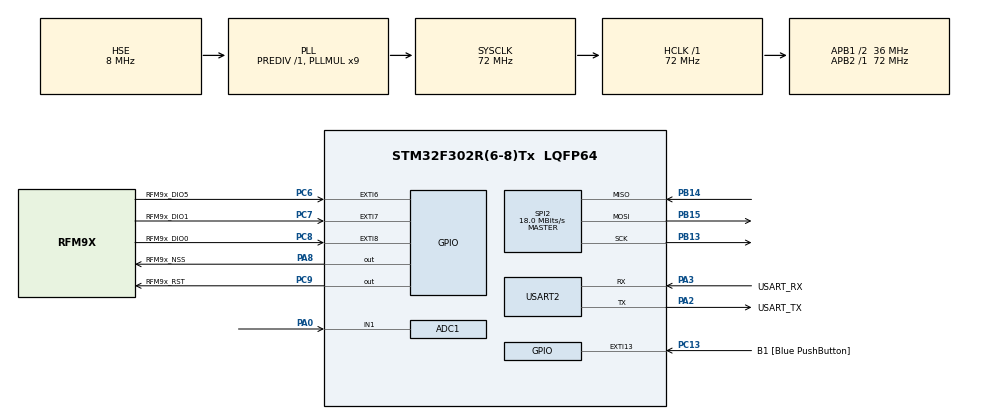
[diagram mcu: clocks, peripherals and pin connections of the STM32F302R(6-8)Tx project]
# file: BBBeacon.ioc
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ADC1.Channel-0\#ChannelRegularConversion=ADC_CHANNEL_1
ADC1.NbrOfConversionFlag=1
ADC1.Offset-0\#ChannelRegularConversion=0
ADC1.OffsetNumber-0\#ChannelRegularConversion=ADC_OFFSET_NONE
ADC1.Rank-0\#ChannelRegularConversion=1
ADC1.Resolution=ADC_RESOLUTION_8B
ADC1.SamplingTime-0\#ChannelRegularConversion=ADC_SAMPLETIME_1CYCLE_5
ADC1.SamplingTimeOPAMP-0\#ChannelRegularConversion=ADC_SAMPLETIME_61CYCLES_5
ADC1.SubFamily=STM32F302x8
ADC1.master=1
Mcu.Family=STM32F3
Mcu.Name=STM32F302R(6-8)Tx
Mcu.Package=LQFP64
NVIC.EXTI9_5_IRQn=true\:0\:0\:false\:false\:true\:true\:true\:true
NVIC.PriorityGroup=NVIC_PRIORITYGROUP_0
NVIC.TIM1_BRK_TIM15_IRQn=true\:0\:0\:false\:false\:true\:true\:true\:true
NVIC.TIM1_CC_IRQn=true\:0\:0\:false\:false\:true\:true\:true\:true
NVIC.TIM1_TRG_COM_TIM17_IRQn=true\:0\:0\:false\:false\:true\:true\:true\:true
NVIC.TIM1_UP_TIM16_IRQn=true\:0\:0\:false\:false\:true\:true\:true\:true
PA0.Mode=IN1-Single-Ended
PA0.Signal=ADC1_IN1
PA13.GPIO_Label=TMS
PA13.Mode=Trace_Asynchronous_SW
PA13.Signal=SYS_JTMS-SWDIO
PA14.GPIO_Label=TCK
PA14.Mode=Trace_Asynchronous_SW
PA14.Signal=SYS_JTCK-SWCLK
PA2.GPIO_Label=USART_TX
PA2.GPIO_Mode=GPIO_MODE_AF_PP
PA2.GPIO_PuPd=GPIO_NOPULL
PA2.GPIO_Speed=GPIO_SPEED_FREQ_LOW
PA2.Mode=Asynchronous
PA2.Signal=USART2_TX
PA3.GPIO_Label=USART_RX
PA3.GPIO_Mode=GPIO_MODE_AF_PP
PA3.GPIO_PuPd=GPIO_NOPULL
PA3.GPIO_Speed=GPIO_SPEED_FREQ_LOW
PA3.Mode=Asynchronous
PA3.Signal=USART2_RX
PA8.GPIO_Label=RFM9x_NSS
PA8.Signal=GPIO_Output
PB13.Mode=Full_Duplex_Master
PB13.Signal=SPI2_SCK
PB14.Mode=Full_Duplex_Master
PB14.Signal=SPI2_MISO
PB15.Mode=Full_Duplex_Master
PB15.Signal=SPI2_MOSI
PB3.GPIO_Label=SWO
PB3.Mode=Trace_Asynchronous_SW
PB3.Signal=SYS_JTDO-TRACESWO
PC13.GPIO_Label=B1 [Blue PushButton]
PC13.GPIO_ModeDefaultEXTI=GPIO_MODE_IT_FALLING
PC13.Signal=GPXTI13
PC14\ -\ OSC32_IN.Mode=LSE-External-Oscillator
PC14\ -\ OSC32_IN.Signal=RCC_OSC32_IN
PC15\ -\ OSC32_OUT.Mode=LSE-External-Oscillator
PC15\ -\ OSC32_OUT.Signal=RCC_OSC32_OUT
PC6.GPIO_Label=RFM9x_DIO5
PC6.GPIO_ModeDefaultEXTI=GPIO_MODE_IT_RISING_FALLING
PC6.GPIO_PuPd=GPIO_PULLUP
PC6.Signal=GPXTI6
PC7.GPIO_Label=RFM9x_DIO1
PC7.GPIO_ModeDefaultEXTI=GPIO_MODE_IT_RISING_FALLING
PC7.GPIO_PuPd=GPIO_PULLUP
PC7.Signal=GPXTI7
PC8.GPIO_Label=RFM9x_DIO0
PC8.GPIO_ModeDefaultEXTI=GPIO_MODE_IT_RISING_FALLING
PC8.GPIO_PuPd=GPIO_PULLUP
PC8.Signal=GPXTI8
PC9.GPIO_Label=RFM9x_RST
PC9.Signal=GPIO_Output
PF0-OSC_IN.Mode=HSE-External-Clock-Source
PF0-OSC_IN.Signal=RCC_OSC_IN
PF1-OSC_OUT.Signal=RCC_OSC_OUT
ProjectManager.HeapSize=0x200
ProjectManager.StackSize=0x400
ProjectManager.TargetToolchain=STM32CubeIDE
RCC.AHBFreq_Value=72000000
RCC.APB1CLKDivider=RCC_HCLK_DIV2
RCC.APB1Freq_Value=36000000
RCC.APB1TimFreq_Value=72000000
RCC.APB2Freq_Value=72000000
RCC.APB2TimFreq_Value=72000000
RCC.CortexFreq_Value=72000000
RCC.HCLKFreq_Value=72000000
RCC.HSE_VALUE=8000000
RCC.HSI_VALUE=8000000
RCC.PLLM=8
RCC.PLLMUL=RCC_PLL_MUL9
RCC.PLLN=336
RCC.PLLP=RCC_PLLP_DIV4
RCC.PLLQ=7
RCC.PLLSourceVirtual=RCC_PLLSOURCE_HSE
RCC.SYSCLKFreq_VALUE=72000000
RCC.SYSCLKSourceVirtual=RCC_SYSCLKSOURCE_PLLCLK
RCC.USBFreq_Value=72000000
SPI2.CLKPhase=SPI_PHASE_1EDGE
SPI2.CLKPolarity=SPI_POLARITY_LOW
SPI2.CalculateBaudRate=18.0 MBits/s
SPI2.DataSize=SPI_DATASIZE_8BIT
SPI2.Direction=SPI_DIRECTION_2LINES
SPI2.Mode=SPI_MODE_MASTER
SPI2.VirtualType=VM_MASTER
TIM1.Prescaler=2048
USART2.VirtualMode-Asynchronous=VM_ASYNC
VP_TIM1_VS_ClockSourceINT.Mode=Internal
board=NUCLEO-F302R8

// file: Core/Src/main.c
/* USER CODE BEGIN Header */
/**
  ******************************************************************************
  * @file           : main.c
  * @brief          : Main program body
  ******************************************************************************
  * @attention
  *
  * Copyright (c) 2023 STMicroelectronics.
  * All rights reserved.
  *
  * This software is licensed under terms that can be found in the LICENSE file
  * in the root directory of this software component.
  * If no LICENSE file comes with this software, it is provided AS-IS.
  *
  ******************************************************************************
  */
/* USER CODE END Header */
#include "main.h"

/* USER CODE BEGIN Includes */
#include "rfm95.h"

#include <stdio.h>
#include <stdlib.h>

/* USER CODE END Includes */

ADC_HandleTypeDef hadc1;

SPI_HandleTypeDef hspi2;

TIM_HandleTypeDef htim1;

UART_HandleTypeDef huart2;

/* USER CODE BEGIN PV */

volatile uint32_t tim_tick_msb = 0;

/* USER CODE END PV */

void SystemClock_Config(void);
static void MX_GPIO_Init(void);
static void MX_USART2_UART_Init(void);
static void MX_ADC1_Init(void);
static void MX_SPI2_Init(void);
static void MX_TIM1_Init(void);

/* USER CODE BEGIN 0 */

int _write(int file, char *ptr, int len)
{
	for (int i = 0; i < len; i++)
	{
	  ITM_SendChar(*ptr++);
	}
	return len;
}

static uint32_t get_precision_tick()
{
    __disable_irq();
    HAL_TIM_Base_Start(&htim1);
    uint32_t precision_tick = tim_tick_msb | __HAL_TIM_GET_COUNTER(&htim1);
    HAL_TIM_Base_Stop(&htim1);
    __enable_irq();

    return precision_tick;
}

static uint8_t random_int(uint8_t max)
{
    return 0; // TODO: MAKE IT RANDOM
}

rfm95_handle_t rfm95_handle = {
        .spi_handle = &hspi2,
  		.nss_port = GPIOA,
  		.nss_pin = RFM9x_NSS_Pin,
  		.nrst_port = GPIOC,
  		.nrst_pin = RFM9x_RST_Pin,
  		.device_address = {
              0x00, 0x00, 0x00, 0x00
          },
  		.application_session_key = {
              0x00, 0x00, 0x00, 0x00, 0x00, 0x00, 0x00, 0x00, 0x00, 0x00, 0x00, 0x00, 0x00, 0x00, 0x00, 0x00
          },
  		.network_session_key = {
              0x00, 0x00, 0x00, 0x00, 0x00, 0x00, 0x00, 0x00, 0x00, 0x00, 0x00, 0x00, 0x00, 0x00, 0x00, 0x00
          },
  		.receive_mode = RFM95_RECEIVE_MODE_NONE,
		.precision_tick_frequency = 32768,
		.precision_tick_drift_ns_per_s = 5000,
		.receive_mode = RFM95_RECEIVE_MODE_RX12,
		.get_precision_tick = get_precision_tick,
		.random_int = random_int
      };

/* USER CODE END 0 */

int main(void)
{

  /* MCU Configuration--------------------------------------------------------*/

  /* Reset of all peripherals, Initializes the Flash interface and the Systick. */
  HAL_Init();

  /* Configure the system clock */
  SystemClock_Config();

  /* USER CODE BEGIN SysInit */

  printf("\n");
  printf("START\n");

  /* USER CODE END SysInit */

  /* Initialize all configured peripherals */
  MX_GPIO_Init();
  MX_USART2_UART_Init();
  MX_ADC1_Init();
  MX_SPI2_Init();
  MX_TIM1_Init();
  /* USER CODE BEGIN 2 */

  if (!rfm95_init(&rfm95_handle)) {
	  printf("LoRa RFM9x: Init FAIL\n");
  } else {
	  printf("LoRa RFM9x: LoRa SUCCESS\n");
  }

  /* USER CODE END 2 */

  /* Infinite loop */
  /* USER CODE BEGIN WHILE */

  while (1)
  {
	  uint8_t data_packet[] = {0x01, 0x02, 0x03, 0x4};
	  if (!rfm95_send_receive_cycle(&rfm95_handle, data_packet, sizeof(data_packet))) {
		  printf("LoRa RFM9x: Send FAIL\n");
	  } else {
		  printf("LoRa RFM9x: Send SUCCESS\n");
	  }

	  //Example ADC
	  HAL_ADC_Start(&hadc1);
	  uint8_t val_a;
	  if (HAL_ADC_PollForConversion(&hadc1, 10) == HAL_OK) {
		  val_a = HAL_ADC_GetValue(&hadc1);
	  }
	  HAL_ADC_Stop(&hadc1);
	  printf("%d", val_a);

	  //Example GPIO
	  HAL_GPIO_WritePin(GPIOA, GPIO_PIN_10, GPIO_PIN_SET);
	  HAL_Delay(2000);
	  HAL_GPIO_WritePin(GPIOA, GPIO_PIN_10, GPIO_PIN_RESET);
	  HAL_Delay(2000);
    /* USER CODE END WHILE */

  }
}

void SystemClock_Config(void)
{
  RCC_OscInitTypeDef RCC_OscInitStruct = {0};
  RCC_ClkInitTypeDef RCC_ClkInitStruct = {0};
  RCC_PeriphCLKInitTypeDef PeriphClkInit = {0};

  /** Initializes the RCC Oscillators according to the specified parameters
  * in the RCC_OscInitTypeDef structure.
  */
  RCC_OscInitStruct.OscillatorType = RCC_OSCILLATORTYPE_HSE;
  RCC_OscInitStruct.HSEState = RCC_HSE_BYPASS;
  RCC_OscInitStruct.HSEPredivValue = RCC_HSE_PREDIV_DIV1;
  RCC_OscInitStruct.HSIState = RCC_HSI_ON;
  RCC_OscInitStruct.PLL.PLLState = RCC_PLL_ON;
  RCC_OscInitStruct.PLL.PLLSource = RCC_PLLSOURCE_HSE;
  RCC_OscInitStruct.PLL.PLLMUL = RCC_PLL_MUL9;
  if (HAL_RCC_OscConfig(&RCC_OscInitStruct) != HAL_OK)
  {
    Error_Handler();
  }

  /** Initializes the CPU, AHB and APB buses clocks
  */
  RCC_ClkInitStruct.ClockType = RCC_CLOCKTYPE_HCLK|RCC_CLOCKTYPE_SYSCLK
                              |RCC_CLOCKTYPE_PCLK1|RCC_CLOCKTYPE_PCLK2;
  RCC_ClkInitStruct.SYSCLKSource = RCC_SYSCLKSOURCE_PLLCLK;
  RCC_ClkInitStruct.AHBCLKDivider = RCC_SYSCLK_DIV1;
  RCC_ClkInitStruct.APB1CLKDivider = RCC_HCLK_DIV2;
  RCC_ClkInitStruct.APB2CLKDivider = RCC_HCLK_DIV1;

  if (HAL_RCC_ClockConfig(&RCC_ClkInitStruct, FLASH_LATENCY_2) != HAL_OK)
  {
    Error_Handler();
  }
  PeriphClkInit.PeriphClockSelection = RCC_PERIPHCLK_TIM1|RCC_PERIPHCLK_ADC1;
  PeriphClkInit.Tim1ClockSelection = RCC_TIM1CLK_HCLK;
  PeriphClkInit.Adc1ClockSelection = RCC_ADC1PLLCLK_DIV1;

  if (HAL_RCCEx_PeriphCLKConfig(&PeriphClkInit) != HAL_OK)
  {
    Error_Handler();
  }
}

static void MX_ADC1_Init(void)
{

  ADC_ChannelConfTypeDef sConfig = {0};

  /** Common config
  */
  hadc1.Instance = ADC1;
  hadc1.Init.ClockPrescaler = ADC_CLOCK_ASYNC_DIV1;
  hadc1.Init.Resolution = ADC_RESOLUTION_8B;
  hadc1.Init.ScanConvMode = ADC_SCAN_DISABLE;
  hadc1.Init.ContinuousConvMode = DISABLE;
  hadc1.Init.DiscontinuousConvMode = DISABLE;
  hadc1.Init.ExternalTrigConvEdge = ADC_EXTERNALTRIGCONVEDGE_NONE;
  hadc1.Init.ExternalTrigConv = ADC_SOFTWARE_START;
  hadc1.Init.DataAlign = ADC_DATAALIGN_RIGHT;
  hadc1.Init.NbrOfConversion = 1;
  hadc1.Init.DMAContinuousRequests = DISABLE;
  hadc1.Init.EOCSelection = ADC_EOC_SINGLE_CONV;
  hadc1.Init.LowPowerAutoWait = DISABLE;
  hadc1.Init.Overrun = ADC_OVR_DATA_OVERWRITTEN;
  if (HAL_ADC_Init(&hadc1) != HAL_OK)
  {
    Error_Handler();
  }

  /** Configure Regular Channel
  */
  sConfig.Channel = ADC_CHANNEL_1;
  sConfig.Rank = ADC_REGULAR_RANK_1;
  sConfig.SingleDiff = ADC_SINGLE_ENDED;
  sConfig.SamplingTime = ADC_SAMPLETIME_1CYCLE_5;
  sConfig.OffsetNumber = ADC_OFFSET_NONE;
  sConfig.Offset = 0;
  if (HAL_ADC_ConfigChannel(&hadc1, &sConfig) != HAL_OK)
  {
    Error_Handler();
  }

}

static void MX_SPI2_Init(void)
{

  /* SPI2 parameter configuration*/
  hspi2.Instance = SPI2;
  hspi2.Init.Mode = SPI_MODE_MASTER;
  hspi2.Init.Direction = SPI_DIRECTION_2LINES;
  hspi2.Init.DataSize = SPI_DATASIZE_8BIT;
  hspi2.Init.CLKPolarity = SPI_POLARITY_LOW;
  hspi2.Init.CLKPhase = SPI_PHASE_1EDGE;
  hspi2.Init.NSS = SPI_NSS_SOFT;
  hspi2.Init.BaudRatePrescaler = SPI_BAUDRATEPRESCALER_2;
  hspi2.Init.FirstBit = SPI_FIRSTBIT_MSB;
  hspi2.Init.TIMode = SPI_TIMODE_DISABLE;
  hspi2.Init.CRCCalculation = SPI_CRCCALCULATION_DISABLE;
  hspi2.Init.CRCPolynomial = 7;
  hspi2.Init.CRCLength = SPI_CRC_LENGTH_DATASIZE;
  hspi2.Init.NSSPMode = SPI_NSS_PULSE_ENABLE;
  if (HAL_SPI_Init(&hspi2) != HAL_OK)
  {
    Error_Handler();
  }

}

static void MX_TIM1_Init(void)
{

  TIM_ClockConfigTypeDef sClockSourceConfig = {0};
  TIM_MasterConfigTypeDef sMasterConfig = {0};

  htim1.Instance = TIM1;
  htim1.Init.Prescaler = 2048;
  htim1.Init.CounterMode = TIM_COUNTERMODE_UP;
  htim1.Init.Period = 65535;
  htim1.Init.ClockDivision = TIM_CLOCKDIVISION_DIV1;
  htim1.Init.RepetitionCounter = 0;
  htim1.Init.AutoReloadPreload = TIM_AUTORELOAD_PRELOAD_DISABLE;
  if (HAL_TIM_Base_Init(&htim1) != HAL_OK)
  {
    Error_Handler();
  }
  sClockSourceConfig.ClockSource = TIM_CLOCKSOURCE_INTERNAL;
  if (HAL_TIM_ConfigClockSource(&htim1, &sClockSourceConfig) != HAL_OK)
  {
    Error_Handler();
  }
  sMasterConfig.MasterOutputTrigger = TIM_TRGO_RESET;
  sMasterConfig.MasterOutputTrigger2 = TIM_TRGO2_RESET;
  sMasterConfig.MasterSlaveMode = TIM_MASTERSLAVEMODE_DISABLE;
  if (HAL_TIMEx_MasterConfigSynchronization(&htim1, &sMasterConfig) != HAL_OK)
  {
    Error_Handler();
  }

}

static void MX_USART2_UART_Init(void)
{

  huart2.Instance = USART2;
  huart2.Init.BaudRate = 38400;
  huart2.Init.WordLength = UART_WORDLENGTH_8B;
  huart2.Init.StopBits = UART_STOPBITS_1;
  huart2.Init.Parity = UART_PARITY_NONE;
  huart2.Init.Mode = UART_MODE_TX_RX;
  huart2.Init.HwFlowCtl = UART_HWCONTROL_NONE;
  huart2.Init.OverSampling = UART_OVERSAMPLING_16;
  huart2.Init.OneBitSampling = UART_ONE_BIT_SAMPLE_DISABLE;
  huart2.AdvancedInit.AdvFeatureInit = UART_ADVFEATURE_NO_INIT;
  if (HAL_UART_Init(&huart2) != HAL_OK)
  {
    Error_Handler();
  }

}

static void MX_GPIO_Init(void)
{
  GPIO_InitTypeDef GPIO_InitStruct = {0};

  /* GPIO Ports Clock Enable */
  __HAL_RCC_GPIOC_CLK_ENABLE();
  __HAL_RCC_GPIOF_CLK_ENABLE();
  __HAL_RCC_GPIOA_CLK_ENABLE();
  __HAL_RCC_GPIOB_CLK_ENABLE();

  /*Configure GPIO pin Output Level */
  HAL_GPIO_WritePin(RFM9x_RST_GPIO_Port, RFM9x_RST_Pin, GPIO_PIN_RESET);

  /*Configure GPIO pin Output Level */
  HAL_GPIO_WritePin(RFM9x_NSS_GPIO_Port, RFM9x_NSS_Pin, GPIO_PIN_RESET);

  /*Configure GPIO pin : B1_Pin */
  GPIO_InitStruct.Pin = B1_Pin;
  GPIO_InitStruct.Mode = GPIO_MODE_IT_FALLING;
  GPIO_InitStruct.Pull = GPIO_NOPULL;
  HAL_GPIO_Init(B1_GPIO_Port, &GPIO_InitStruct);

  /*Configure GPIO pins : RFM9x_DIO5_Pin RFM9x_DIO1_Pin RFM9x_DIO0_Pin */
  GPIO_InitStruct.Pin = RFM9x_DIO5_Pin|RFM9x_DIO1_Pin|RFM9x_DIO0_Pin;
  GPIO_InitStruct.Mode = GPIO_MODE_IT_RISING_FALLING;
  GPIO_InitStruct.Pull = GPIO_PULLUP;
  HAL_GPIO_Init(GPIOC, &GPIO_InitStruct);

  /*Configure GPIO pin : RFM9x_RST_Pin */
  GPIO_InitStruct.Pin = RFM9x_RST_Pin;
  GPIO_InitStruct.Mode = GPIO_MODE_OUTPUT_PP;
  GPIO_InitStruct.Pull = GPIO_NOPULL;
  GPIO_InitStruct.Speed = GPIO_SPEED_FREQ_LOW;
  HAL_GPIO_Init(RFM9x_RST_GPIO_Port, &GPIO_InitStruct);

  /*Configure GPIO pin : RFM9x_NSS_Pin */
  GPIO_InitStruct.Pin = RFM9x_NSS_Pin;
  GPIO_InitStruct.Mode = GPIO_MODE_OUTPUT_PP;
  GPIO_InitStruct.Pull = GPIO_NOPULL;
  GPIO_InitStruct.Speed = GPIO_SPEED_FREQ_LOW;
  HAL_GPIO_Init(RFM9x_NSS_GPIO_Port, &GPIO_InitStruct);

  /* EXTI interrupt init*/
  HAL_NVIC_SetPriority(EXTI9_5_IRQn, 0, 0);
  HAL_NVIC_EnableIRQ(EXTI9_5_IRQn);

}

/* USER CODE BEGIN 4 */

void HAL_GPIO_EXTI_Callback(uint16_t GPIO_Pin)
{
	if (!(&rfm95_handle))
		return;

    if (GPIO_Pin == RFM9x_DIO0_Pin)
    {
        rfm95_on_interrupt(&rfm95_handle, RFM95_INTERRUPT_DIO0);
    }
    else if (GPIO_Pin == RFM9x_DIO1_Pin)
    {
        rfm95_on_interrupt(&rfm95_handle, RFM95_INTERRUPT_DIO1);
    }
    else if (GPIO_Pin == RFM9x_DIO5_Pin)
    {
        rfm95_on_interrupt(&rfm95_handle, RFM95_INTERRUPT_DIO5);
    }
}

/* USER CODE END 4 */

void Error_Handler(void)
{
  __disable_irq();
  while (1)
  {
  }
}
